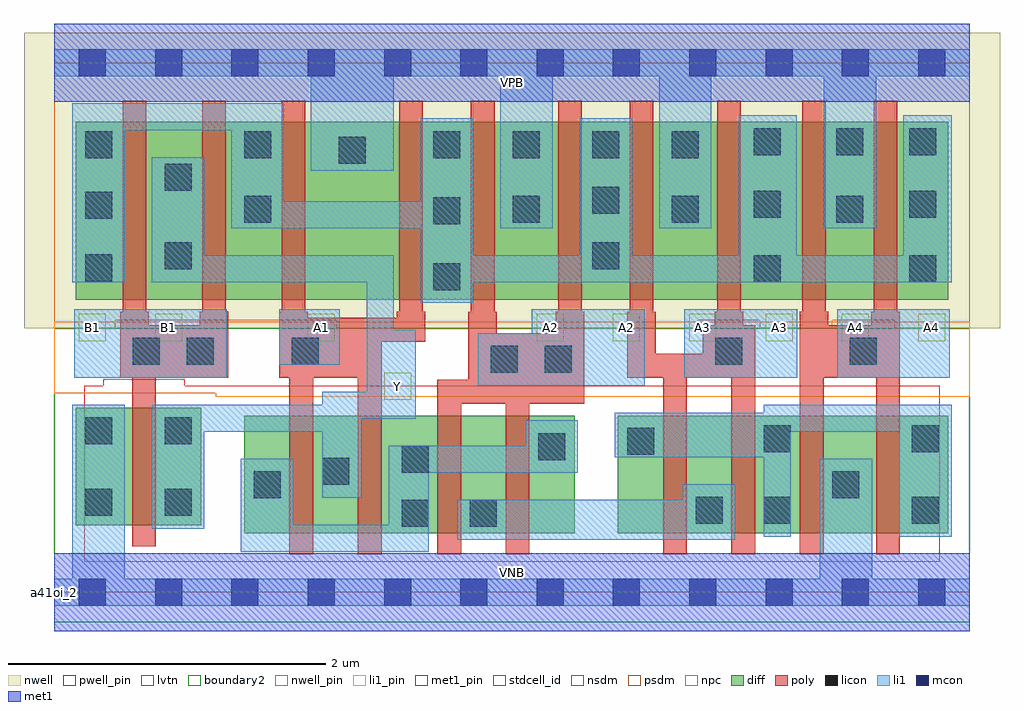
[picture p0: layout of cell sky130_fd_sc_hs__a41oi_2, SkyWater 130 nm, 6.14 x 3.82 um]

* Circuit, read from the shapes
.subckt sky130_fd_sc_hs__a41oi_2 A1 A2 A3 A4 B1 VGND VNB VPB VPWR Y
XM1 Y B1 VGND VNB sky130_fd_pr__nfet_01v8_lvt w=0.74 l=0.15
XM2 Y A1 n1 VNB sky130_fd_pr__nfet_01v8_lvt w=0.74 l=0.15 m=2
XM3 n2 A2 n1 VNB sky130_fd_pr__nfet_01v8_lvt w=0.74 l=0.15 m=2
XM4 n2 A3 n3 VNB sky130_fd_pr__nfet_01v8_lvt w=0.74 l=0.15 m=2
XM5 VGND A4 n3 VNB sky130_fd_pr__nfet_01v8_lvt w=0.74 l=0.15 m=2
XM6 Y B1 n4 VPB sky130_fd_pr__pfet_01v8 w=1.12 l=0.15 m=2
XM7 VPWR A1 n4 VPB sky130_fd_pr__pfet_01v8 w=1.12 l=0.15 m=2
XM8 VPWR A2 n4 VPB sky130_fd_pr__pfet_01v8 w=1.12 l=0.15 m=2
XM9 VPWR A3 n4 VPB sky130_fd_pr__pfet_01v8 w=1.12 l=0.15 m=2
XM10 VPWR A4 n4 VPB sky130_fd_pr__pfet_01v8 w=1.12 l=0.15 m=2
.ends

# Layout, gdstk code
import gdstk
lib = gdstk.Library(unit=1e-6, precision=1e-09)
def R(c, l, rs):  # rectangles x0, y0, x1, y1
    for r in rs: c.add(gdstk.rectangle(r[:2], r[2:], *l))
def A(c, l, x, y, w, h, nx, ny, dx, dy):  # array of equal rectangles
    R(c, l, [(x+i*dx, y+j*dy, x+i*dx+w, y+j*dy+h) for i in range(nx) for j in range(ny)])
def P(c, l, *ps):  # polygons
    for p in ps: c.add(gdstk.Polygon(p, *l))
nwell_pin = (64, 16)
nwell = (64, 20)
diff = (65, 20)
poly = (66, 20)
licon = (66, 44)
li1_pin = (67, 16)
li1 = (67, 20)
mcon = (67, 44)
met1_pin = (68, 16)
met1 = (68, 20)
stdcell_id = (81, 4)
nsdm = (93, 44)
psdm = (94, 20)
npc = (95, 20)
pwell_pin = (122, 16)
lvtn = (125, 44)
boundary2 = (236, 0)

sky130_fd_sc_hs__a41oi_2 = lib.new_cell('sky130_fd_sc_hs__a41oi_2')
R(sky130_fd_sc_hs__a41oi_2, nwell_pin, [(0,3.085,5.76,3.33)])
R(sky130_fd_sc_hs__a41oi_2, nwell, [(-0.19,1.66,5.95,3.52)])
R(sky130_fd_sc_hs__a41oi_2, diff, [(1.195,0.37,3.275,1.11), (3.545,0.37,5.625,1.11), (0.135,0.42,0.925,1.16), (0.135,1.84,5.625,2.96)])
P(sky130_fd_sc_hs__a41oi_2, poly, [(5.32,1.765),(5.305,1.765),(5.305,3.09),(5.155,3.09),(5.155,1.765),(5.14,1.765),(5.14,1.68),(4.87,1.68),(4.87,1.765),(4.855,1.765),(4.855,3.09),(4.705,3.09),(4.705,1.765),(4.69,1.765),(4.69,0.24),(4.84,0.24),(4.84,1.35),(5.17,1.35),(5.17,0.24),(5.32,0.24)],
  [(4.41,1.68),(4.335,1.68),(4.335,1.765),(4.32,1.765),(4.32,3.09),(4.17,3.09),(4.17,1.765),(4.155,1.765),(4.155,1.68),(4.08,1.68),(4.08,1.5),(3.785,1.5),(3.785,1.765),(3.77,1.765),(3.77,3.09),(3.62,3.09),(3.62,1.765),(3.605,1.765),(3.605,1.35),(3.83,1.35),(3.83,0.24),(3.98,0.24),(3.98,1.35),(4.26,1.35),(4.26,0.24),(4.41,0.24)],
  [(3.335,1.765),(3.32,1.765),(3.32,3.09),(3.17,3.09),(3.17,1.765),(3.155,1.765),(3.155,1.63),(2.785,1.63),(2.785,1.765),(2.77,1.765),(2.77,3.09),(2.62,3.09),(2.62,1.765),(2.605,1.765),(2.605,1.335),(2.41,1.335),(2.41,0.24),(2.56,0.24),(2.56,1.185),(2.84,1.185),(2.84,0.24),(2.99,0.24),(2.99,1.185),(3.335,1.185)],
  [(2.335,1.765),(2.32,1.765),(2.32,3.09),(2.17,3.09),(2.17,1.765),(2.155,1.765),(2.155,1.725),(1.595,1.725),(1.595,1.765),(1.58,1.765),(1.58,3.09),(1.43,3.09),(1.43,1.765),(1.415,1.765),(1.415,1.35),(1.48,1.35),(1.48,0.24),(1.63,0.24),(1.63,1.35),(1.91,1.35),(1.91,0.24),(2.06,0.24),(2.06,1.575),(2.335,1.575)],
  [(1.095,1.765),(1.08,1.765),(1.08,3.09),(0.93,3.09),(0.93,1.765),(0.915,1.765),(0.915,1.68),(0.595,1.68),(0.595,1.765),(0.58,1.765),(0.58,3.09),(0.43,3.09),(0.43,1.765),(0.415,1.765),(0.415,1.35),(0.49,1.35),(0.49,0.29),(0.64,0.29),(0.64,1.35),(1.095,1.35)])
A(sky130_fd_sc_hs__a41oi_2, licon, 2.385, 2.73, 0.17, 0.17, 4, 1, 0.5, 0)
R(sky130_fd_sc_hs__a41oi_2, licon, [(2.185,0.41,2.355,0.58), (2.615,0.41,2.785,0.58), (4.035,0.43,4.205,0.6), (4.465,0.43,4.635,0.6), (5.395,0.43,5.565,0.6), (0.195,0.48,0.365,0.65), (0.695,0.48,0.865,0.65), (1.255,0.59,1.425,0.76), (4.895,0.59,5.065,0.76), (1.685,0.675,1.855,0.845), (2.185,0.75,2.355,0.92), (3.045,0.83,3.215,1), (3.605,0.865,3.775,1.035), (4.465,0.88,4.635,1.05), (5.395,0.88,5.565,1.05), (0.195,0.93,0.365,1.1), (0.695,0.93,0.865,1.1), (2.745,1.38,2.915,1.55), (3.085,1.38,3.255,1.55), (0.495,1.43,0.665,1.6), (0.835,1.43,1.005,1.6), (1.495,1.43,1.665,1.6), (4.16,1.43,4.33,1.6), (5.005,1.43,5.175,1.6), (2.385,1.9,2.555,2.07), (4.4,1.95,4.57,2.12), (5.38,1.95,5.55,2.12), (0.195,1.955,0.365,2.125), (0.695,2.03,0.865,2.2), (3.385,2.03,3.555,2.2), (2.385,2.315,2.555,2.485), (1.195,2.325,1.365,2.495), (2.885,2.325,3.055,2.495), (3.885,2.325,4.055,2.495), (4.92,2.325,5.09,2.495), (0.195,2.35,0.365,2.52), (4.4,2.355,4.57,2.525), (5.38,2.355,5.55,2.525), (3.385,2.38,3.555,2.55), (0.695,2.525,0.865,2.695), (1.79,2.695,1.96,2.865), (0.195,2.73,0.365,2.9), (1.195,2.73,1.365,2.9), (4.4,2.75,4.57,2.92), (4.92,2.75,5.09,2.92), (5.38,2.75,5.55,2.92)])
A(sky130_fd_sc_hs__a41oi_2, li1_pin, 3.035, 1.58, 0.17, 0.17, 6, 1, 0.48, 0)
R(sky130_fd_sc_hs__a41oi_2, li1_pin, [(2.075,1.21,2.245,1.38), (0.155,1.58,0.325,1.75), (0.635,1.58,0.805,1.75), (1.595,1.58,1.765,1.75)])
R(sky130_fd_sc_hs__a41oi_2, li1, [(0.125,1.35,1.085,1.78), (3.965,1.35,4.675,1.78), (4.925,1.35,5.635,1.78), (1.415,1.43,1.795,1.78), (5.34,2.03,5.645,3), (4.305,2.12,4.67,3)])
P(sky130_fd_sc_hs__a41oi_2, li1, [(0,-0.085),(0,0.085),(0.115,0.085),(0.115,1.18),(0.445,1.18),(0.445,0.085),(4.815,0.085),(4.815,0.84),(5.145,0.84),(5.145,0.085),(5.76,0.085),(5.76,-0.085)],
  [(0,3.245),(0,3.415),(5.76,3.415),(5.76,3.245),(5.17,3.245),(5.17,2.29),(4.84,2.29),(4.84,3.245),(4.135,3.245),(4.135,2.29),(3.805,2.29),(3.805,3.245),(3.135,3.245),(3.135,2.29),(2.805,2.29),(2.805,3.245),(2.135,3.245),(2.135,2.65),(1.615,2.65),(1.615,3.245)],
  [(1.965,1.26),(1.965,1.95),(0.615,1.95),(0.615,2.735),(0.945,2.735),(0.945,2.12),(2.135,2.12),(2.135,1.65),(2.275,1.65),(2.275,1.09),(1.935,1.09),(1.935,0.595),(1.685,0.595),(1.685,1.01),(0.945,1.01),(0.945,0.4),(0.615,0.4),(0.615,1.18),(1.685,1.18),(1.685,1.26)],
  [(2.665,1.3),(2.665,1.63),(3.005,1.63),(3.005,1.78),(3.715,1.78),(3.715,1.3)],
  [(5.645,2.12),(5.645,1.95),(2.635,1.95),(2.635,1.82),(2.305,1.82),(2.305,2.29),(1.115,2.29),(1.115,2.905),(0.445,2.905),(0.445,1.95),(0.115,1.95),(0.115,3.075),(1.445,3.075),(1.445,2.46),(2.305,2.46),(2.305,2.98),(2.635,2.98),(2.635,2.12),(3.305,2.12),(3.305,2.98),(3.635,2.98),(3.635,2.12)],
  [(5.315,1.01),(4.635,1.01),(4.635,0.35),(4.465,0.35),(4.465,0.85),(3.525,0.85),(3.525,1.13),(4.465,1.13),(4.465,1.18),(5.645,1.18),(5.645,0.35),(5.315,0.35)],
  [(2.535,0.33),(2.535,0.58),(3.955,0.58),(3.955,0.68),(4.285,0.68),(4.285,0.33)],
  [(2.355,0.75),(2.355,0.255),(1.175,0.255),(1.175,0.84),(1.505,0.84),(1.505,0.425),(2.105,0.425),(2.105,0.92),(2.965,0.92),(2.965,1.08),(3.295,1.08),(3.295,0.75)])
A(sky130_fd_sc_hs__a41oi_2, mcon, 0.155, -0.085, 0.17, 0.17, 12, 2, 0.48, 3.33)
R(sky130_fd_sc_hs__a41oi_2, met1_pin, [(0,0,5.76,0.245), (0,3.085,5.76,3.33)])
R(sky130_fd_sc_hs__a41oi_2, met1, [(0,-0.245,5.76,0.245), (0,3.085,5.76,3.575)])
R(sky130_fd_sc_hs__a41oi_2, stdcell_id, [(0,0,5.76,3.33)])
R(sky130_fd_sc_hs__a41oi_2, nsdm, [(0,-0.19,5.76,1.66)])
P(sky130_fd_sc_hs__a41oi_2, psdm, [(5.76,3.52),(0,3.52),(0,1.66),(0.385,1.66),(0.385,1.71),(1.775,1.71),(1.775,1.66),(4.05,1.66),(4.05,1.71),(4.44,1.71),(4.44,1.66),(4.895,1.66),(4.895,1.71),(5.285,1.71),(5.285,1.66),(5.76,1.66)])
P(sky130_fd_sc_hs__a41oi_2, npc, [(5.76,1.7),(0,1.7),(0,1.25),(1.015,1.25),(1.015,1.23),(5.76,1.23)])
R(sky130_fd_sc_hs__a41oi_2, pwell_pin, [(0,0,5.76,0.245)])
P(sky130_fd_sc_hs__a41oi_2, lvtn, [(5.57,1.3),(0.82,1.3),(0.82,1.34),(0.31,1.34),(0.31,1.3),(0.19,1.3),(0.19,0.19),(5.57,0.19)])
R(sky130_fd_sc_hs__a41oi_2, boundary2, [(0,0,5.76,3.33)])
sky130_fd_sc_hs__a41oi_2.add(gdstk.Label('a41oi_2', (0,0), layer=83, texttype=44))
sky130_fd_sc_hs__a41oi_2.add(gdstk.Label('VNB', (2.88,0.123), layer=64, texttype=59))
sky130_fd_sc_hs__a41oi_2.add(gdstk.Label('VPB', (2.88,3.208), layer=64, texttype=5))
sky130_fd_sc_hs__a41oi_2.add(gdstk.Label('VPWR', (2.88,3.208), layer=68, texttype=5))
sky130_fd_sc_hs__a41oi_2.add(gdstk.Label('VGND', (2.88,0.123), layer=68, texttype=5))
sky130_fd_sc_hs__a41oi_2.add(gdstk.Label('A1', (1.68,1.665), layer=67, texttype=5))
sky130_fd_sc_hs__a41oi_2.add(gdstk.Label('Y', (2.16,1.295), layer=67, texttype=5))
sky130_fd_sc_hs__a41oi_2.add(gdstk.Label('A2', (3.12,1.665), layer=67, texttype=5))
sky130_fd_sc_hs__a41oi_2.add(gdstk.Label('A2', (3.6,1.665), layer=67, texttype=5))
sky130_fd_sc_hs__a41oi_2.add(gdstk.Label('A3', (4.08,1.665), layer=67, texttype=5))
sky130_fd_sc_hs__a41oi_2.add(gdstk.Label('A3', (4.56,1.665), layer=67, texttype=5))
sky130_fd_sc_hs__a41oi_2.add(gdstk.Label('A4', (5.04,1.665), layer=67, texttype=5))
sky130_fd_sc_hs__a41oi_2.add(gdstk.Label('A4', (5.52,1.665), layer=67, texttype=5))
sky130_fd_sc_hs__a41oi_2.add(gdstk.Label('B1', (0.24,1.665), layer=67, texttype=5))
sky130_fd_sc_hs__a41oi_2.add(gdstk.Label('B1', (0.72,1.665), layer=67, texttype=5))

lib.write_gds('sky130_fd_sc_hs__a41oi_2.gds')
